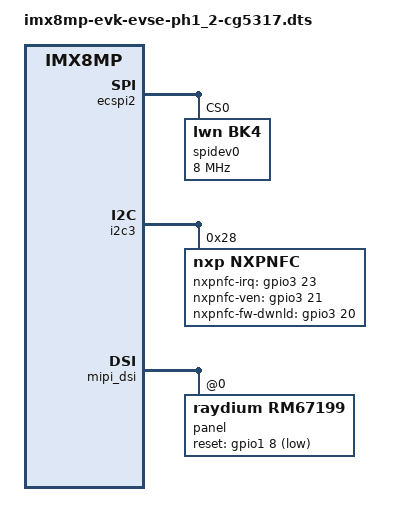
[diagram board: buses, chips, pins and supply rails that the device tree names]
// SPDX-License-Identifier: (GPL-2.0+ OR MIT)
/*
 * Copyright 2023 NXP
 */

/dts-v1/;

#include "imx8mp-evk-evse.dts"

/delete-node/ &nxpnfc;

&ecspi2 {
	pinctrl-2 = <&pinctrl_cg5317>;	
	spidev0: spi@0 {
		compatible = "lwn,bk4";
		reg = <0x0>;
		spi-cpha;
		spi-max-frequency = <8000000>;
		spi-cpol;
	};
};

&i2c3 {
	nxpnfc: nxpnfc@28 {
		compatible = "nxp,nxpnfc";
		reg = <0x28>;
		nxp,nxpnfc-irq = <&gpio3 23 GPIO_ACTIVE_HIGH>;
		nxp,nxpnfc-ven = <&gpio3 21 GPIO_ACTIVE_HIGH>;
		nxp,nxpnfc-fw-dwnld = <&gpio3 20 GPIO_ACTIVE_HIGH>;
	};
};

&mipi_dsi {
	panel@0 {
		compatible = "raydium,rm67199";
		reg = <0>;
		pinctrl-0 = <&pinctrl_mipi_dsi_en>;
		reset-gpio = <&gpio1 8 GPIO_ACTIVE_LOW>;
		dsi-lanes = <4>;
		video-mode = <2>;	/* 0: burst mode
					 * 1: non-burst mode with sync event
					 * 2: non-burst mode with sync pulse
					 */
		panel-width-mm = <68>;
		panel-height-mm = <121>;
		status = "okay";
	};
};

&iomuxc {
	pinctrl_cg5317: cg5317grp {
                fsl,pins = <
                        MX8MP_IOMUXC_ECSPI1_SS0__GPIO5_IO09           0x100
                        MX8MP_IOMUXC_ECSPI1_MISO__GPIO5_IO08          0x100
                >;
        };

};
